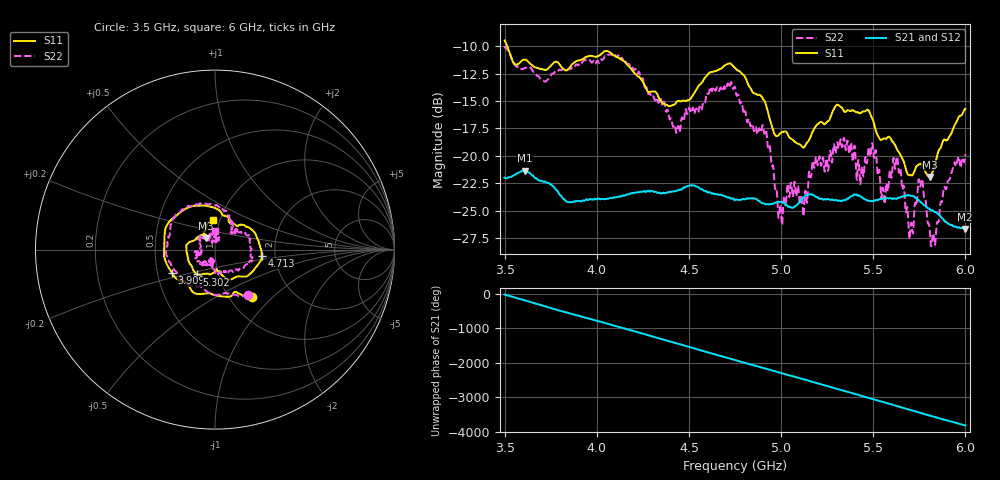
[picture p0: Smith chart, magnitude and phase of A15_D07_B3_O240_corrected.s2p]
! Created with skrf 1.9.0 (http://scikit-rf.org).
# Hz S RI R 50.0
!freq ReS11 ImS11 ReS21 ImS21 ReS12 ImS12 ReS22 ImS22
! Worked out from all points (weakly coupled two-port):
!   1601 points, 3.5 GHz to 6 GHz, reference 50 ohm
!   highest |S21| = -21.33 dB at 3.609 GHz (marker M1); lowest = -26.6 dB at 5.997 GHz (marker M2)
!   lowest |S11| = -21.9 dB at 5.806 GHz (marker M3), VSWR 1.17, Z = 45 + j5.74 ohm
!   |S11| at or under -10 dB: 3.514 GHz to end of sweep
!   |S22| runs from -28.2 to -10.0 dB; largest |S21 - S12| = 0.00097
!   S11 on the Smith chart (normalised r, x): 3.5 GHz: 1.26, -0.76; 3.909 GHz: 0.60, -0.17; 4.713 GHz: 1.70, -0.12; 5.302 GHz: 0.79, -0.23; 6 GHz: 0.93, +0.31
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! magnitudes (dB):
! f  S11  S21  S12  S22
! 3.5 GHz  -9.5  -22.0  -22.0  -10.0
! 3.609 GHz  -11.2  -21.3  -21.4  -12.0
! 3.909 GHz  -11.3  -24.1  -24.1  -11.5
! 3.917 GHz  -11.3  -24.1  -24.1  -11.6
! 4.108 GHz  -11.0  -23.7  -23.7  -11.0
! 4.334 GHz  -14.6  -23.3  -23.3  -15.2
! 4.441 GHz  -15.0  -23.1  -23.1  -17.3
! 4.713 GHz  -11.6  -23.8  -23.8  -13.4
! 4.75 GHz  -12.0  -24.0  -24.0  -13.8
! 4.911 GHz  -15.0  -24.4  -24.3  -18.0
! 4.995 GHz  -17.9  -24.2  -24.1  -24.4
! 5.045 GHz  -18.3  -24.6  -24.6  -23.7
! 5.13 GHz  -19.1  -23.7  -23.7  -23.4
! 5.167 GHz  -17.9  -23.5  -23.5  -21.0
! 5.302 GHz  -15.4  -24.0  -24.0  -19.0
! 5.584 GHz  -18.3  -23.9  -23.8  -22.4
! 5.638 GHz  -19.6  -23.8  -23.8  -21.3
! 5.705 GHz  -21.8  -23.6  -23.6  -26.2
! 5.758 GHz  -20.7  -24.2  -24.2  -22.6
! 5.806 GHz  -21.9  -24.8  -24.8  -26.7
! 5.997 GHz  -15.8  -26.6  -26.6  -20.3
! 6 GHz  -15.7  -26.6  -26.6  -19.8
